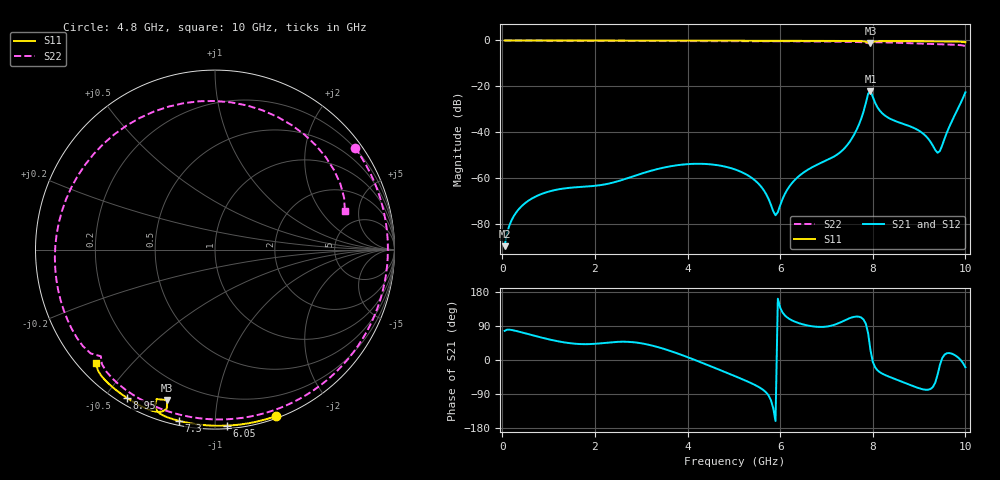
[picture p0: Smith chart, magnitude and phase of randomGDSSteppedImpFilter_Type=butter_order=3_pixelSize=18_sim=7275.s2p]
! freq	dB(S11)	phase(S11)	dB(S12)	phase(S12)
!  dB(S21)	phase(S21)	dB(S22)	phase(S22)
!S-par simulation data
#  GHz  S  DB  R 50
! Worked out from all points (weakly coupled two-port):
!   200 points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, 50 MHz to 10 GHz, reference 50 ohm
!   highest |S21| = -22.03 dB at 7.95 GHz (marker M1); lowest = -89.7 dB at 50 MHz (marker M2)
!   lowest |S11| = -1.1 dB at 7.95 GHz (marker M3), VSWR 15.68, Z = 4.89 - j36.4 ohm
!   |S11| at or under -10 dB: nowhere
!   |S22| runs from -2.4 to 0.0 dB; largest |S21 - S12| = 0
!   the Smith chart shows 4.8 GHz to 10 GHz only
!   S11 on the Smith chart (normalised r, x): 4.8 GHz: 0.02, -1.44; 6.05 GHz: 0.02, -1.07; 7.3 GHz: 0.02, -0.81; 8.95 GHz: 0.03, -0.57; 10 GHz: 0.05, -0.40
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0.05  -0.00 -0.8  -89.69 77.0  -89.69 77.0  -0.00 -3.1
1  -0.02 -15.3  -65.90 54.6  -65.90 54.6  -0.08 -61.5
1.75  -0.03 -26.5  -63.78 41.8  -63.78 41.8  -0.14 -108.3
2.65  -0.05 -39.7  -60.42 48.2  -60.42 48.2  -0.21 -168.0
3.4  -0.07 -50.5  -55.82 32.6  -55.82 32.6  -0.26 138.2
4.1  -0.08 -60.2  -53.82 2.9  -53.82 2.9  -0.30 86.0
4.8  -0.10 -69.7  -54.96 -31.3  -54.96 -31.3  -0.31 36.1
5.05  -0.11 -73.1  -56.41 -43.9  -56.41 -43.9  -0.32 19.5
5.55  -0.13 -79.6  -62.84 -72.1  -62.84 -72.1  -0.33 -11.3
5.9  -0.14 -84.2  -76.20 -160.9  -76.20 -160.9  -0.35 -31.2
6.05  -0.15 -86.1  -69.21 125.7  -69.21 125.7  -0.36 -39.4
6.3  -0.16 -89.3  -61.17 102.0  -61.17 102.0  -0.38 -52.6
6.7  -0.18 -94.3  -55.18 88.8  -55.18 88.8  -0.42 -73.0
7.3  -0.22 -102.0  -48.70 99.2  -48.70 99.2  -0.54 -103.5
7.65  -0.27 -106.9  -38.98 114.7  -38.98 114.7  -0.67 -122.6
7.95  -1.11 -107.6  -22.03 26.4  -22.03 26.4  -1.17 -137.3
8.1  -0.38 -109.2  -29.10 -26.9  -29.10 -26.9  -0.79 -147.5
8.35  -0.31 -113.2  -33.87 -44.0  -33.87 -44.0  -0.89 -165.5
8.95  -0.35 -120.8  -38.78 -72.5  -38.78 -72.5  -1.31 141.7
9.4  -0.39 -126.5  -48.98 -38.5  -48.98 -38.5  -1.64 89.8
9.75  -0.47 -131.4  -33.41 14.4  -33.41 14.4  -1.85 45.9
10  -0.79 -136.4  -22.61 -19.2  -22.61 -19.2  -2.45 16.4
